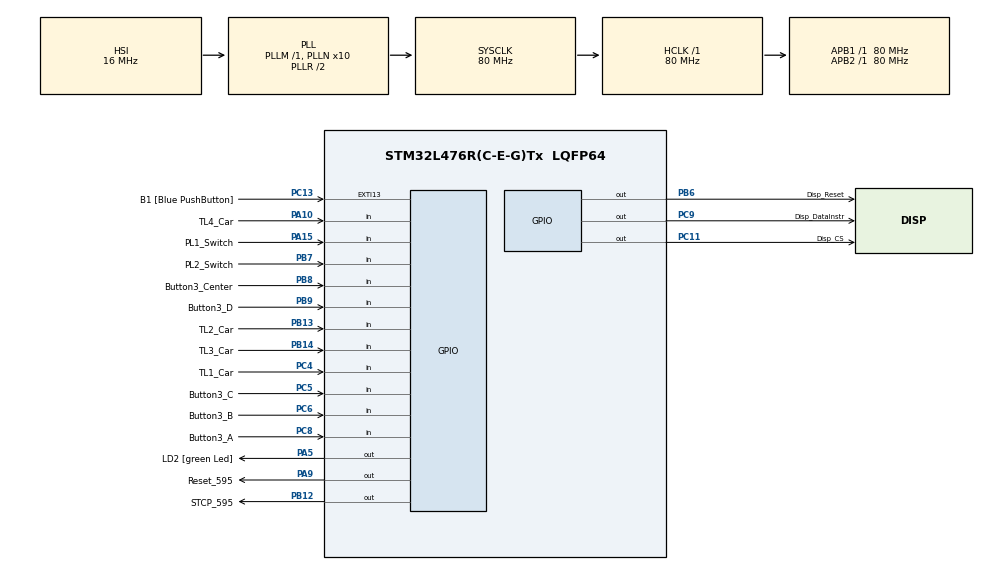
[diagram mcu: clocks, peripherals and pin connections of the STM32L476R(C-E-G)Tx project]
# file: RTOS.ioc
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FREERTOS.BinarySemaphores01=myBinarySem,Dynamic,NULL
FREERTOS.Tasks01=defaultTask,24,128,StartDefaultTask,Default,NULL,Dynamic,NULL,NULL;Blink1Task,24,128,Blink1,Default,NULL,Dynamic,NULL,NULL;Blink2Task,24,128,Blink2,Default,NULL,Dynamic,NULL,NULL;TriggTask,40,128,Trigg,Default,NULL,Dynamic,NULL,NULL;UserbuttonTask,40,128,Userbutton,Default,NULL,Dynamic,NULL,NULL
FREERTOS.configTOTAL_HEAP_SIZE=4000
Mcu.Family=STM32L4
Mcu.Name=STM32L476R(C-E-G)Tx
Mcu.Package=LQFP64
NVIC.PriorityGroup=NVIC_PRIORITYGROUP_4
NVIC.TIM1_UP_TIM16_IRQn=true\:15\:0\:false\:false\:true\:false\:false\:true\:true
NVIC.TimeBase=TIM1_UP_TIM16_IRQn
NVIC.TimeBaseIP=TIM1
PA10.GPIO_Label=TL4_Car
PA10.GPIO_PuPd=GPIO_PULLUP
PA10.Signal=GPIO_Input
PA13\ (JTMS-SWDIO).GPIO_Label=TMS
PA13\ (JTMS-SWDIO).Signal=SYS_JTMS-SWDIO
PA14\ (JTCK-SWCLK).GPIO_Label=TCK
PA14\ (JTCK-SWCLK).Signal=SYS_JTCK-SWCLK
PA15\ (JTDI).GPIO_Label=PL1_Switch
PA15\ (JTDI).GPIO_PuPd=GPIO_PULLUP
PA15\ (JTDI).Signal=GPIO_Input
PA2.GPIO_Label=USART_TX
PA2.GPIO_Mode=GPIO_MODE_AF_PP
PA2.GPIO_PuPd=GPIO_NOPULL
PA2.GPIO_Speed=GPIO_SPEED_FREQ_VERY_HIGH
PA2.Signal=USART2_TX
PA3.GPIO_Label=USART_RX
PA3.GPIO_Mode=GPIO_MODE_AF_PP
PA3.GPIO_PuPd=GPIO_NOPULL
PA3.GPIO_Speed=GPIO_SPEED_FREQ_VERY_HIGH
PA3.Signal=USART2_RX
PA5.GPIO_Label=LD2 [green Led]
PA5.GPIO_ModeDefaultOutputPP=GPIO_MODE_OUTPUT_PP
PA5.GPIO_PuPd=GPIO_NOPULL
PA5.GPIO_Speed=GPIO_SPEED_FREQ_LOW
PA5.Signal=GPIO_Output
PA9.GPIO_Label=Reset_595
PA9.Signal=GPIO_Output
PB12.GPIO_Label=STCP_595
PB12.Signal=GPIO_Output
PB13.GPIO_Label=TL2_Car
PB13.GPIO_PuPd=GPIO_PULLUP
PB13.Signal=GPIO_Input
PB14.GPIO_Label=TL3_Car
PB14.GPIO_PuPd=GPIO_PULLUP
PB14.Signal=GPIO_Input
PB3\ (JTDO-TRACESWO).GPIO_Label=SWO
PB3\ (JTDO-TRACESWO).Signal=SYS_JTDO-SWO
PB6.GPIO_Label=Disp_Reset
PB6.Signal=GPIO_Output
PB7.GPIO_Label=PL2_Switch
PB7.GPIO_PuPd=GPIO_PULLUP
PB7.Signal=GPIO_Input
PB8.GPIO_Label=Button3_Center
PB8.GPIO_PuPd=GPIO_PULLUP
PB8.Signal=GPIO_Input
PB9.GPIO_Label=Button3_D
PB9.GPIO_PuPd=GPIO_PULLUP
PB9.Signal=GPIO_Input
PC11.GPIO_Label=Disp_CS
PC11.Signal=GPIO_Output
PC13.GPIO_Label=B1 [Blue PushButton]
PC13.GPIO_ModeDefaultEXTI=GPIO_MODE_IT_FALLING
PC13.GPIO_PuPd=GPIO_NOPULL
PC13.Signal=GPXTI13
PC14-OSC32_IN\ (PC14).Signal=RCC_OSC32_IN
PC15-OSC32_OUT\ (PC15).Signal=RCC_OSC32_OUT
PC4.GPIO_Label=TL1_Car
PC4.GPIO_PuPd=GPIO_PULLUP
PC4.Signal=GPIO_Input
PC5.GPIO_Label=Button3_C
PC5.GPIO_PuPd=GPIO_PULLUP
PC5.Signal=GPIO_Input
PC6.GPIO_Label=Button3_B
PC6.GPIO_PuPd=GPIO_PULLUP
PC6.Signal=GPIO_Input
PC8.GPIO_Label=Button3_A
PC8.GPIO_PuPd=GPIO_PULLUP
PC8.Signal=GPIO_Input
PC9.GPIO_Label=Disp_DataInstr
PC9.Signal=GPIO_Output
PH0-OSC_IN\ (PH0).Signal=RCC_OSC_IN
PH1-OSC_OUT\ (PH1).Signal=RCC_OSC_OUT
ProjectManager.HeapSize=0x200
ProjectManager.StackSize=0x400
ProjectManager.TargetToolchain=STM32CubeIDE
RCC.ADCFreq_Value=64000000
RCC.AHBFreq_Value=80000000
RCC.APB1Freq_Value=80000000
RCC.APB1TimFreq_Value=80000000
RCC.APB2Freq_Value=80000000
RCC.APB2TimFreq_Value=80000000
RCC.CortexFreq_Value=80000000
RCC.HCLKFreq_Value=80000000
RCC.HSE_VALUE=8000000
RCC.HSI_VALUE=16000000
RCC.LSE_VALUE=32768
RCC.MSI_VALUE=4000000
RCC.PLLN=10
RCC.PLLSourceVirtual=RCC_PLLSOURCE_HSI
RCC.PREFETCH_ENABLE=1
RCC.SYSCLKFreq_VALUE=80000000
RCC.SYSCLKSource=RCC_SYSCLKSOURCE_PLLCLK
RCC.USBFreq_Value=64000000
RCC.VCOOutputFreq_Value=160000000
VP_FREERTOS_VS_CMSIS_V2.Mode=CMSIS_V2
VP_SYS_VS_tim1.Mode=TIM1
board=NUCLEO-L476RG

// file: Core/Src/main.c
/* USER CODE BEGIN Header */
/**
  ******************************************************************************
  * @file           : main.c
  * @brief          : Main program body
  ******************************************************************************
  * @attention
  *
  * Copyright (c) 2023 STMicroelectronics.
  * All rights reserved.
  *
  * This software is licensed under terms that can be found in the LICENSE file
  * in the root directory of this software component.
  * If no LICENSE file comes with this software, it is provided AS-IS.
  *
  ******************************************************************************
  */
/* USER CODE END Header */
#include "main.h"
#include "cmsis_os.h"
#include "gpio.h"

void SystemClock_Config(void);
void MX_FREERTOS_Init(void);

int main(void)
{

  /* MCU Configuration--------------------------------------------------------*/

  /* Reset of all peripherals, Initializes the Flash interface and the Systick. */
  HAL_Init();

  /* Configure the system clock */
  SystemClock_Config();

  /* Initialize all configured peripherals */
  MX_GPIO_Init();

  /* Init scheduler */
  osKernelInitialize();  /* Call init function for freertos objects (in freertos.c) */
  MX_FREERTOS_Init();

  /* Start scheduler */
  osKernelStart();

  /* We should never get here as control is now taken by the scheduler */
  /* Infinite loop */
  while (1)
  {

  }
}

void SystemClock_Config(void)
{
  RCC_OscInitTypeDef RCC_OscInitStruct = {0};
  RCC_ClkInitTypeDef RCC_ClkInitStruct = {0};

  /** Configure the main internal regulator output voltage
  */
  if (HAL_PWREx_ControlVoltageScaling(PWR_REGULATOR_VOLTAGE_SCALE1) != HAL_OK)
  {
    Error_Handler();
  }

  /** Initializes the RCC Oscillators according to the specified parameters
  * in the RCC_OscInitTypeDef structure.
  */
  RCC_OscInitStruct.OscillatorType = RCC_OSCILLATORTYPE_HSI;
  RCC_OscInitStruct.HSIState = RCC_HSI_ON;
  RCC_OscInitStruct.HSICalibrationValue = RCC_HSICALIBRATION_DEFAULT;
  RCC_OscInitStruct.PLL.PLLState = RCC_PLL_ON;
  RCC_OscInitStruct.PLL.PLLSource = RCC_PLLSOURCE_HSI;
  RCC_OscInitStruct.PLL.PLLM = 1;
  RCC_OscInitStruct.PLL.PLLN = 10;
  RCC_OscInitStruct.PLL.PLLP = RCC_PLLP_DIV7;
  RCC_OscInitStruct.PLL.PLLQ = RCC_PLLQ_DIV2;
  RCC_OscInitStruct.PLL.PLLR = RCC_PLLR_DIV2;
  if (HAL_RCC_OscConfig(&RCC_OscInitStruct) != HAL_OK)
  {
    Error_Handler();
  }

  /** Initializes the CPU, AHB and APB buses clocks
  */
  RCC_ClkInitStruct.ClockType = RCC_CLOCKTYPE_HCLK|RCC_CLOCKTYPE_SYSCLK
                              |RCC_CLOCKTYPE_PCLK1|RCC_CLOCKTYPE_PCLK2;
  RCC_ClkInitStruct.SYSCLKSource = RCC_SYSCLKSOURCE_PLLCLK;
  RCC_ClkInitStruct.AHBCLKDivider = RCC_SYSCLK_DIV1;
  RCC_ClkInitStruct.APB1CLKDivider = RCC_HCLK_DIV1;
  RCC_ClkInitStruct.APB2CLKDivider = RCC_HCLK_DIV1;

  if (HAL_RCC_ClockConfig(&RCC_ClkInitStruct, FLASH_LATENCY_4) != HAL_OK)
  {
    Error_Handler();
  }
}

void HAL_TIM_PeriodElapsedCallback(TIM_HandleTypeDef *htim)
{
  if (htim->Instance == TIM1) {
    HAL_IncTick();
  }
}

void Error_Handler(void)
{
  __disable_irq();
  while (1)
  {
  }
}

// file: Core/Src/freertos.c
/* USER CODE BEGIN Header */
/**
  ******************************************************************************
  * File Name          : freertos.c
  * Description        : Code for freertos applications
  ******************************************************************************
  * @attention
  *
  * Copyright (c) 2023 STMicroelectronics.
  * All rights reserved.
  *
  * This software is licensed under terms that can be found in the LICENSE file
  * in the root directory of this software component.
  * If no LICENSE file comes with this software, it is provided AS-IS.
  *
  ******************************************************************************
  */
/* USER CODE END Header */

#include "FreeRTOS.h"
#include "task.h"
#include "main.h"
#include "cmsis_os.h"

/* USER CODE BEGIN Variables */
uint8_t varBlink1 = 0;
uint8_t varBlink3 = 0;
/* USER CODE END Variables */
/* Definitions for defaultTask */
osThreadId_t defaultTaskHandle;
const osThreadAttr_t defaultTask_attributes = {
  .name = "defaultTask",
  .stack_size = 128 * 4,
  .priority = (osPriority_t) osPriorityNormal,
};
/* Definitions for Blink1Task */
osThreadId_t Blink1TaskHandle;
const osThreadAttr_t Blink1Task_attributes = {
  .name = "Blink1Task",
  .stack_size = 128 * 4,
  .priority = (osPriority_t) osPriorityNormal,
};
/* Definitions for Blink2Task */
osThreadId_t Blink2TaskHandle;
const osThreadAttr_t Blink2Task_attributes = {
  .name = "Blink2Task",
  .stack_size = 128 * 4,
  .priority = (osPriority_t) osPriorityNormal,
};
/* Definitions for TriggTask */
osThreadId_t TriggTaskHandle;
const osThreadAttr_t TriggTask_attributes = {
  .name = "TriggTask",
  .stack_size = 128 * 4,
  .priority = (osPriority_t) osPriorityHigh,
};
/* Definitions for UserbuttonTask */
osThreadId_t UserbuttonTaskHandle;
const osThreadAttr_t UserbuttonTask_attributes = {
  .name = "UserbuttonTask",
  .stack_size = 128 * 4,
  .priority = (osPriority_t) osPriorityHigh,
};
/* Definitions for myBinarySem */
osSemaphoreId_t myBinarySemHandle;
const osSemaphoreAttr_t myBinarySem_attributes = {
  .name = "myBinarySem"
};

/* USER CODE BEGIN FunctionPrototypes */
void wait_cycles( uint32_t n );
/* USER CODE END FunctionPrototypes */

void StartDefaultTask(void *argument);
void Blink1(void *argument);
void Blink2(void *argument);
void Trigg(void *argument);
void Userbutton(void *argument);

void MX_FREERTOS_Init(void); /* (MISRA C 2004 rule 8.1) */

void MX_FREERTOS_Init(void) {

  /* Create the semaphores(s) */
  /* creation of myBinarySem */
  myBinarySemHandle = osSemaphoreNew(1, 1, &myBinarySem_attributes);

  /* Create the thread(s) */
  /* creation of defaultTask */
  defaultTaskHandle = osThreadNew(StartDefaultTask, NULL, &defaultTask_attributes);

  /* creation of Blink1Task */
  Blink1TaskHandle = osThreadNew(Blink1, NULL, &Blink1Task_attributes);

  /* creation of Blink2Task */
  Blink2TaskHandle = osThreadNew(Blink2, NULL, &Blink2Task_attributes);

  /* creation of TriggTask */
  TriggTaskHandle = osThreadNew(Trigg, NULL, &TriggTask_attributes);

  /* creation of UserbuttonTask */
  UserbuttonTaskHandle = osThreadNew(Userbutton, NULL, &UserbuttonTask_attributes);

}

void StartDefaultTask(void *argument)
{
  for(;;)
  {
    osDelay(1);
  }
}

void Blink1(void *argument)
{
  /* USER CODE BEGIN Blink1 */
    TickType_t xLastWakeTime;
    const TickType_t xPeriod = pdMS_TO_TICKS(100) ; // ms to ticks
    // Initialise the xLastWakeTime variable with the current time.
    xLastWakeTime = xTaskGetTickCount();
    /* Infinite loop */
    for(;;)
    {
         osSemaphoreAcquire(myBinarySemHandle, osWaitForever); // Acquire semaphore

             // Toggle the green LED
             HAL_GPIO_TogglePin(GPIOA, GPIO_PIN_5);

             // Wait for 200ms
            // wait_cycles(200000);

         osSemaphoreRelease(myBinarySemHandle); // Release semaphore

            vTaskDelayUntil( &xLastWakeTime, xPeriod );
          }
  /* USER CODE END Blink1 */
}

void Blink2(void *argument)
{
  for(;;)
  {
    osDelay(1);
  }
}

void Trigg(void *argument)
{
  /* USER CODE BEGIN Trigg */
  TickType_t xLastWakeTime;
  const TickType_t xPeriod = pdMS_TO_TICKS(200) ; // ms to ticks
  // Initialise the xLastWakeTime variable with the current time.
  xLastWakeTime = xTaskGetTickCount();

  /* Infinite loop */
  for(;;)
  {
	  vTaskDelayUntil( &xLastWakeTime, xPeriod );
	  wait_cycles(10); //add a breakpoint in this line
  }
  /* USER CODE END Trigg */
}

void Userbutton(void *argument)
{
  /* USER CODE BEGIN Userbutton */
    TickType_t xLastWakeTime;
    const TickType_t xPeriod = pdMS_TO_TICKS(20);
    // Initialise the xLastWakeTime variable with the current time.
    xLastWakeTime = xTaskGetTickCount();
    osSemaphoreRelease(myBinarySemHandle);
    /* Infinite loop */
    for(;;)
    {
         if (HAL_GPIO_ReadPin(B1_GPIO_Port, B1_Pin) == GPIO_PIN_RESET)
                {
                    // Button is pressed, disable blinking
                    osSemaphoreAcquire(myBinarySemHandle, 10); // Acquire semaphore

                    wait_cycles(250000);

                }
                else
                {
                    // Button is not pressed, enable blinking

                    osSemaphoreRelease(myBinarySemHandle); // Release semaphore

                }

            vTaskDelayUntil( &xLastWakeTime, xPeriod );
          }
  /* USER CODE END Userbutton */
}

/* USER CODE BEGIN Application */
void wait_cycles( uint32_t n ) {
uint32_t l = n/3; //cycles per loop is 3
asm volatile( "0:" "SUBS %[count], 1;" "BNE 0b;" :[count]"+r"(l) );
}
/* USER CODE END Application */
